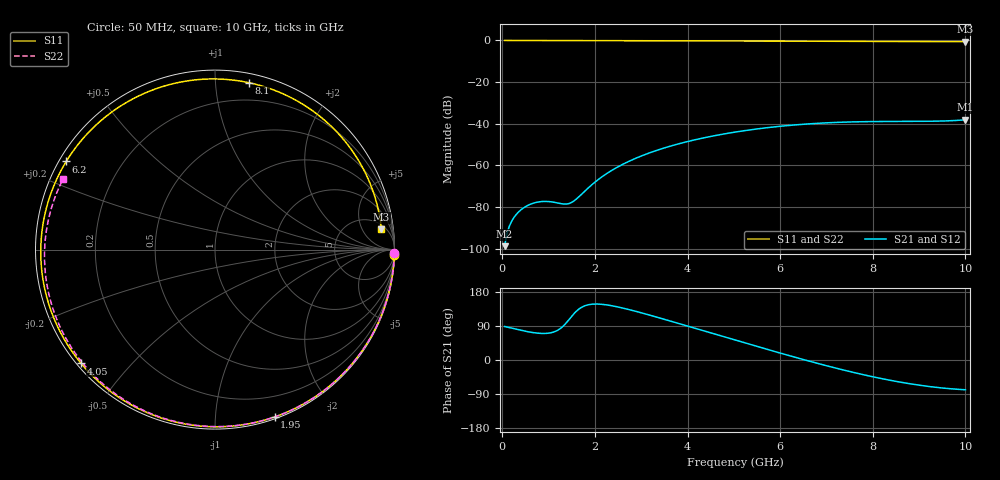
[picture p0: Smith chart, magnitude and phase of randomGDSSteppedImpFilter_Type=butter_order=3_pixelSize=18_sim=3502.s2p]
! freq	dB(S11)	phase(S11)	dB(S12)	phase(S12)
!  dB(S21)	phase(S21)	dB(S22)	phase(S22)
!S-par simulation data
#  GHz  S  DB  R 50
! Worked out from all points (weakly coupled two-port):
!   200 points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, 50 MHz to 10 GHz, reference 50 ohm
!   highest |S21| = -38.08 dB at 10 GHz (marker M1); lowest = -98.8 dB at 50 MHz (marker M2)
!   lowest |S11| = -0.6 dB at 10 GHz (marker M3), VSWR 29.47, Z = 353 + j627 ohm
!   |S11| at or under -10 dB: nowhere
!   |S22| runs from -0.6 to 0.0 dB; largest |S21 - S12| = 0
!   S11 on the Smith chart (normalised r, x): 50 MHz: 0, -61; 1.95 GHz: 0.02, -1.42; 4.05 GHz: 0.01, -0.37; 6.2 GHz: 0.02, +0.27; 8.1 GHz: 0.07, +1.22; 10 GHz: 7, +13
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0.05  -0.00 -1.9  -98.77 88.4  -98.77 88.4  -0.00 -1.2
0.45  -0.02 -16.7  -80.53 77.1  -80.53 77.1  -0.01 -11.0
0.9  -0.04 -33.2  -77.29 70.0  -77.29 70.0  -0.03 -21.9
1.4  -0.06 -51.1  -78.51 100.6  -78.51 100.6  -0.04 -33.8
1.55  -0.07 -56.5  -77.02 122.6  -77.02 122.6  -0.05 -37.4
1.75  -0.08 -63.5  -73.03 141.4  -73.03 141.4  -0.05 -42.0
1.95  -0.09 -70.4  -68.98 147.4  -68.98 147.4  -0.06 -46.7
2.55  -0.11 -90.8  -60.06 138.5  -60.06 138.5  -0.08 -60.3
3.4  -0.15 -118.7  -52.30 110.9  -52.30 110.9  -0.10 -78.7
4.05  -0.18 -139.6  -48.27 87.7  -48.27 87.7  -0.13 -92.2
4.55  -0.21 -155.7  -45.87 69.7  -45.87 69.7  -0.15 -102.2
5.05  -0.24 -171.9  -43.92 51.7  -43.92 51.7  -0.17 -112.0
5.65  -0.28 168.2  -42.07 30.5  -42.07 30.5  -0.20 -123.4
6.2  -0.32 149.3  -40.78 11.4  -40.78 11.4  -0.23 -133.6
6.7  -0.36 131.5  -39.93 -5.4  -39.93 -5.4  -0.27 -142.8
7.45  -0.42 103.7  -39.17 -28.9  -39.17 -28.9  -0.33 -156.5
8.1  -0.45 78.7  -38.91 -46.8  -38.91 -46.8  -0.39 -168.4
8.35  -0.47 68.9  -38.88 -53.0  -38.88 -53.0  -0.41 -173.0
8.75  -0.49 53.4  -38.86 -61.7  -38.86 -61.7  -0.45 179.5
9.2  -0.52 36.1  -38.81 -69.7  -38.81 -69.7  -0.50 170.9
9.6  -0.55 21.2  -38.62 -75.1  -38.62 -75.1  -0.55 163.1
10  -0.59 6.9  -38.08 -78.6  -38.08 -78.6  -0.60 155.1
